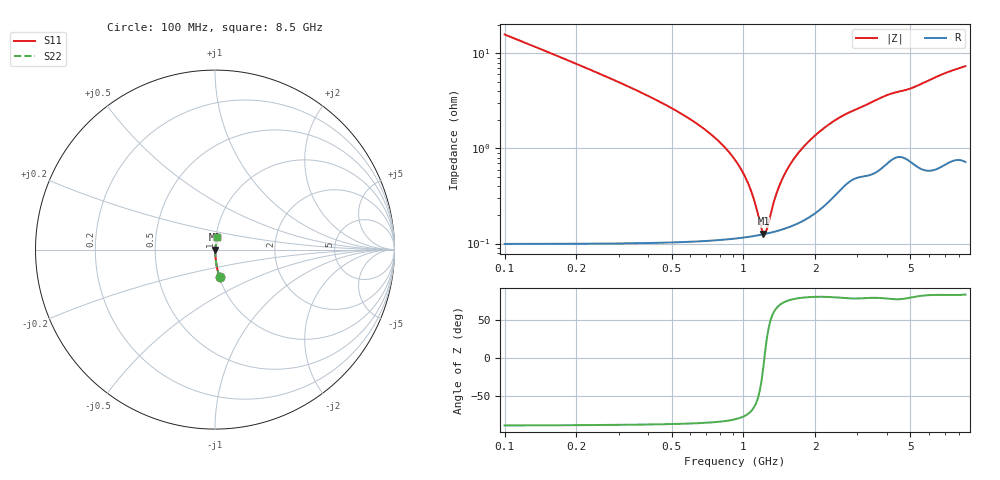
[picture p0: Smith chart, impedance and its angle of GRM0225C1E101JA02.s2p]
!Murata Part Number: GRM0225C1E101JA02
!These Parameters are Measured in Series Mode Connection
!Data Generated on Mar 30, 2021
!  o--ll--o
!Port1  Port2
!  o------o
!Operation Temp=25[degC], DC Bias Voltage=0[V]
!Freq. Start=100[MHz] Stop=9[GHz] 401[Steps]
# Hz S RI R 50
!Freq.(Hz) S11(Real) S11(Imag) S21(Real) S21(Imag) S12(Real) S12(Imag) S22(Real) S22(Imag)
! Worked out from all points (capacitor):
!   401 points, 100 MHz to 8.5 GHz, reference 50 ohm
!   read as one part in series: C = 100 pF near 142 MHz
!   lowest |Z| = 127 mohm at 1.213 GHz (marker M1)
!   series resonance near 1.224 GHz, so ESL is about 170 pH
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1e8  0.0253 -0.1539  0.9747 0.1539  0.9747 0.1539  0.0253 -0.1539
2.26e8  0.00559 -0.0676  0.9944 0.0676  0.9944 0.0676  0.00559 -0.0676
3.31e8  0.00298 -0.0444  0.997 0.0444  0.997 0.0444  0.00298 -0.0444
7.93e8  0.00122 -0.0117  0.9988 0.0117  0.9988 0.0117  0.00122 -0.0117
9.4e8  0.00118 -0.00697  0.9988 0.00697  0.9988 0.00697  0.00118 -0.00697
1.045e9  0.00119 -0.00415  0.9988 0.00415  0.9988 0.00415  0.00119 -0.00415
1.108e9  0.0012 -0.00261  0.9988 0.00261  0.9988 0.00261  0.0012 -0.00261
1.171e9  0.00123 -0.00116  0.9988 0.00116  0.9988 0.00116  0.00123 -0.00116
1.213e9  0.00125 -0.000235  0.9988 0.000235  0.9988 0.000235  0.00125 -0.000235
1.234e9  0.00126 0.000214  0.9987 -0.000214  0.9987 -0.000214  0.00126 0.000214
1.255e9  0.00127 0.000657  0.9987 -0.000657  0.9987 -0.000657  0.00127 0.000657
1.381e9  0.00136 0.00318  0.9986 -0.00318  0.9986 -0.00318  0.00136 0.00318
1.507e9  0.00148 0.00551  0.9985 -0.00551  0.9985 -0.00551  0.00148 0.00551
1.717e9  0.00174 0.00911  0.9983 -0.00911  0.9983 -0.00911  0.00174 0.00911
2.032e9  0.00234 0.014  0.9977 -0.014  0.9977 -0.014  0.00234 0.014
2.431e9  0.00362 0.0195  0.9964 -0.0195  0.9964 -0.0195  0.00362 0.0195
2.914e9  0.00537 0.0246  0.9946 -0.0246  0.9946 -0.0246  0.00537 0.0246
3.775e9  0.0072 0.0333  0.9928 -0.0333  0.9928 -0.0333  0.0072 0.0333
4.3e9  0.00924 0.0372  0.9908 -0.0372  0.9908 -0.0372  0.00924 0.0372
5.707e9  0.00823 0.0482  0.9918 -0.0482  0.9918 -0.0482  0.00823 0.0482
7.114e9  0.0107 0.0616  0.9893 -0.0616  0.9893 -0.0616  0.0107 0.0616
8.5e9  0.0123 0.0716  0.9877 -0.0716  0.9877 -0.0716  0.0123 0.0716
